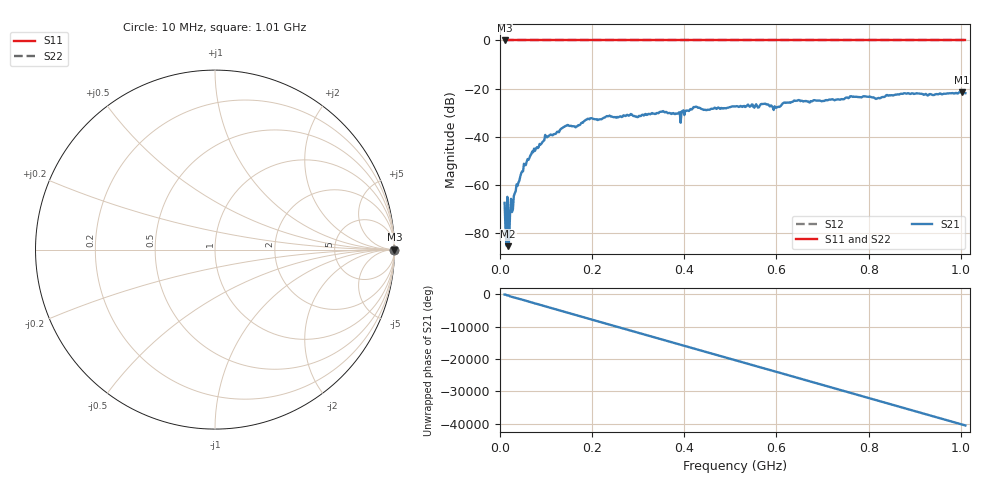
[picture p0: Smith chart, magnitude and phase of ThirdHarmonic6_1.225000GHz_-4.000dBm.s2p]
! 8/16/2025 12:52:52 PM
! C:\ANRITSUVNA\TEMP\TEMP.S2P
! CHANNEL.1
! TR.MEASUREMENT
! RAW.DATA
! RF.CORRECTION.OFF
! AVERAGING.OFF
! IF.BANDWIDTH: 5KHZ
! SWEEPTYPE:  FREQ.SWEEP(Linear)
! Reference Plane Port Info
! PORT:  PORT1  PORT2
! DISTANCE:  0  m  0  m
! TIME:  0  s  0  s
! PHASE.OFFSET:  0  deg.  0  deg.
! LOSS:  0  dB  0  dB
! REF.LOSS:  0  dB  0  dB
! REF.FREQ:  0  Hz  0  Hz
! Power Info
! POWER:  -20  dBm  -20  dBm
! EFF.POWER:  -20  dBm  -20  dBm
! SOURCE.ATTEN:  0  dB  0  dB
! TEST.ATTEN:  0  dB  0  dB
# GHZ S RI R 50.0
! FREQ.GHZ  S11RE  S11IM  S21RE  S21IM  S12RE  S12IM  S22RE  S22IM
!; PortSelection: Port_12
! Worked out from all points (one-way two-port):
!   501 points, 10 MHz to 1.01 GHz, reference 50 ohm
!   highest |S21| = -21.45 dB at 1.002 GHz (marker M1); lowest = -85.3 dB at 18 MHz (marker M2)
!   lowest |S11| = 0.0 dB at 10 MHz (marker M3)
!   |S11| at or under -10 dB: nowhere
!   |S22| runs from 0.0 to 0.0 dB; largest |S21 - S12| = 1.1
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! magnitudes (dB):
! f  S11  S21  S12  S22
! 10 MHz  0.0  -67.3  0.0  0.0
! 12 MHz  0.0  -78.4  0.0  0.0
! 16 MHz  0.0  -64.9  0.0  0.0
! 18 MHz  0.0  -85.3  0.0  0.0
! 20 MHz  0.0  -82.2  0.0  0.0
! 22 MHz  0.0  -70.9  0.0  0.0
! 34 MHz  0.0  -62.5  0.0  0.0
! 48 MHz  0.0  -54.3  0.0  0.0
! 70 MHz  0.0  -46.0  0.0  0.0
! 102 MHz  0.0  -40.2  0.0  0.0
! 178 MHz  0.0  -34.0  0.0  0.0
! 234 MHz  0.0  -31.4  0.0  0.0
! 344 MHz  0.0  -30.2  0.0  0.0
! 388 MHz  0.0  -29.9  0.0  0.0
! 424 MHz  0.0  -27.6  0.0  0.0
! 510 MHz  0.0  -27.3  0.0  0.0
! 572 MHz  0.0  -26.3  0.0  0.0
! 598 MHz  0.0  -27.7  0.0  0.0
! 678 MHz  0.0  -25.2  0.0  0.0
! 844 MHz  0.0  -22.8  0.0  0.0
! 1.002 GHz  0.0  -21.5  0.0  0.0
! 1.01 GHz  0.0  -21.9  0.0  0.0
